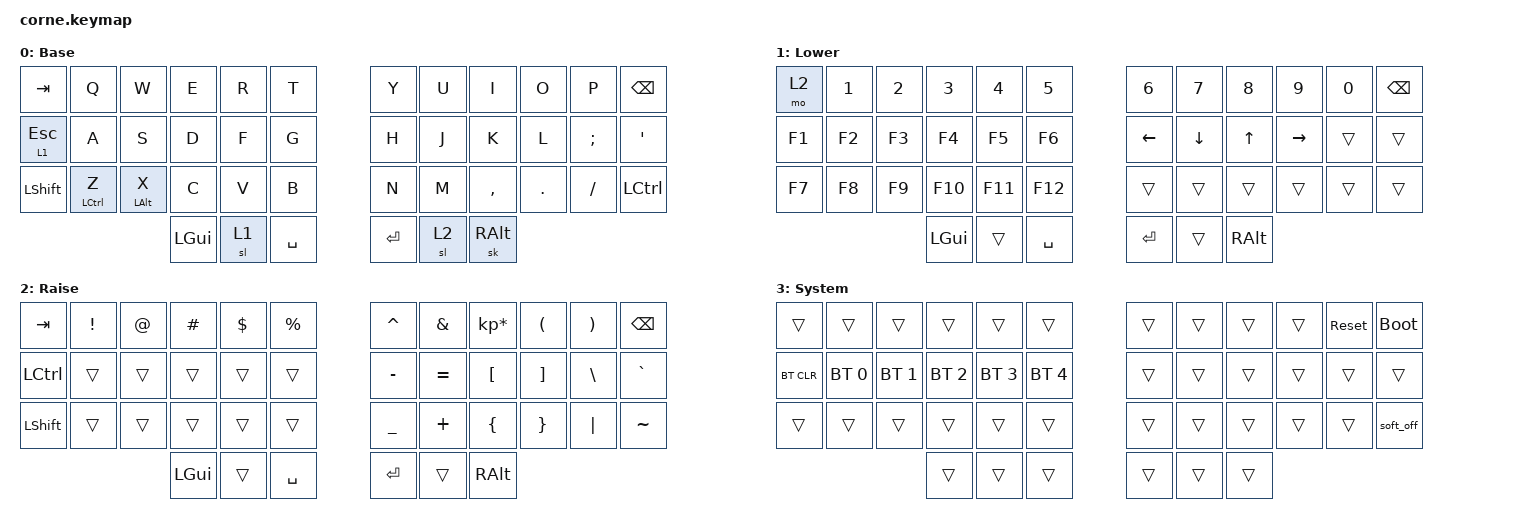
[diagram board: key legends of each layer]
/*
 * Copyright (c) 2020 The ZMK Contributors
 *
 * SPDX-License-Identifier: MIT
 */

#include <behaviors.dtsi>
#include <dt-bindings/zmk/keys.h>
#include <dt-bindings/zmk/bt.h>

&sk {
  quick-release;
};

&mt {
  flavor = "balanced";
};

/ {
        combos {
            compatible = "zmk,combos";
            combo_esc {
                timeout-ms = <30>;
                key-positions = <19 20>;
                bindings = <&kp ESC>;
            };
            combo_paran_l { timeout-ms = <50>; key-positions = <4 5>; bindings = <&kp LPAR>; };
            combo_paran_r { timeout-ms = <50>; key-positions = <6 7>; bindings = <&kp RPAR>; };
            combo_bkt_l { timeout-ms = <50>; key-positions = <16 17>; bindings = <&kp LBKT>; };
            combo_bkt_r { timeout-ms = <50>; key-positions = <18 19>; bindings = <&kp RBKT>; };
            combo_brc_l { timeout-ms = <50>; key-positions = <28 29>; bindings = <&kp LBRC>; };
            combo_brc_r { timeout-ms = <50>; key-positions = <30 31>; bindings = <&kp RBRC>; };
        };
        conditional_layers {
            compatible = "zmk,conditional-layers";
            tri_layer {
                if-layers = <1 2>;
                then-layer = <3>;
            };
        };
        soft_off_wakers {
            compatible = "zmk,soft-off-wakeup-sources";
            wakeup-sources = <&kscan0>;
        };
        keymap {
                compatible = "zmk,keymap";

                default_layer {
// -----------------------------------------------------------------------------------------
// |  TAB |  Q  |  W  |  E  |  R  |  T  |   |  Y  |  U   |  I  |  O  |  P  | BKSP |
// | 1/ESC|  A  |  S  |  D  |  F  |  G  |   |  H  |  J   |  K  |  L  |  ;  |  '   |
// | SHFT |Z/CTL|X/ALT|  C  |  V  |  B  |   |  N  |  M   |  ,  |  .  |  /  | LCTRL|
//                    | GUI | LWR | SPC |   | ENT | RSE  | RALT|
                        display-name = "Base";
                        bindings = <
   &kp TAB   &kp Q &kp W &kp E &kp R &kp T   &kp Y &kp U  &kp I     &kp O   &kp P    &kp BSPC
   &lt 1 ESC &kp A &kp S &kp D &kp F &kp G   &kp H &kp J  &kp K     &kp L   &kp SEMI &kp SQT
   &kp LSHFT &mt LCTRL Z &mt LALT X &kp C &kp V &kp B   &kp N &kp M  &kp COMMA &kp DOT &kp FSLH &kp LCTRL
                  &kp LGUI &sl 1 &kp SPACE   &kp RET &sl 2 &sk RALT
                        >;
                };
                lower_layer {
// -----------------------------------------------------------------------------------------
// |  SYS |  1  |  2  |  3  |  4  |  5  |   |  6  |  7  |  8  |  9  |  0  | BKSP |
// | F1   | F2  | F3  | F4  | F5  | F6  |   | LFT | DWN |  UP | RGT |     |      |
// | F7   | F8  | F9  | F10 | F11 | F12 |   |     |     |     |     |     |      |
//                    | GUI |     | SPC |   | ENT |     | ALT |
                        display-name = "Lower";
                        bindings = <
   &mo 2   &kp N1  &kp N2  &kp N3  &kp N4   &kp N5       &kp N6   &kp N7   &kp N8 &kp N9    &kp N0 &kp BSPC
   &kp F1  &kp F2  &kp F3  &kp F4  &kp F5   &kp F6       &kp LEFT &kp DOWN &kp UP &kp RIGHT &trans &trans
   &kp F7  &kp F8  &kp F9  &kp F10 &kp F11  &kp F12      &trans   &trans   &trans &trans    &trans &trans
            &kp LGUI     &trans       &kp SPACE          &kp RET  &trans   &kp RALT
                        >;
                };

                raise_layer {
// -----------------------------------------------------------------------------------------
// |  TAB |  !  |  @  |  #  |  $  |  %  |   |  ^  |  &  |  *  |  (  |  )  | BKSP |
// | CTRL |     |     |     |     |     |   |  -  |  =  |  [  |  ]  |  \  |  `   |
// | SHFT |     |     |     |     |     |   |  _  |  +  |  {  |  }  | "|" |  ~   |
//                    | GUI |     | SPC |   | ENT |     | ALT |
                        display-name = "Raise";
                        bindings = <
   &kp  TAB  &kp EXCL &kp AT &kp HASH &kp DLLR &kp PRCNT     &kp CARET &kp AMPS  &kp KP_MULTIPLY &kp LPAR &kp RPAR &kp BSPC
   &kp LCTRL &trans   &trans &trans   &trans   &trans        &kp MINUS &kp EQUAL &kp LBKT        &kp RBKT &kp BSLH &kp GRAVE
   &kp LSHFT &trans   &trans &trans   &trans   &trans        &kp UNDER &kp PLUS  &kp LBRC        &kp RBRC &kp PIPE &kp TILDE
                    	     &kp LGUI   &trans   &kp SPACE     &kp RET   &trans    &kp RALT
                        >;
                };

                system_layer {
// -----------------------------------------------------------------------------------------
// |      |     |     |     |     |     |   |     |     |     |     |     |     |
// | BTCLR| BT1 | BT2 | BT3 | BT4 | BT5 |   |     |     |     |     |     |     |
// |      |     |     |     |     |     |   |     |     |     |     |     |     |
//                    |     |     |     |   |     |     |     |
                        display-name = "System";
                        bindings = <
   &trans      &trans         &trans         &trans         &trans         &trans            &trans   &trans   &trans   &trans   &sys_reset   &bootloader
   &bt BT_CLR  &bt BT_SEL 0   &bt BT_SEL 1   &bt BT_SEL 2   &bt BT_SEL 3   &bt BT_SEL 4      &trans   &trans   &trans   &trans   &trans       &trans
   &trans      &trans         &trans         &trans         &trans         &trans            &trans   &trans   &trans   &trans   &trans       &soft_off
                    	                       &trans         &trans         &trans            &trans   &trans   &trans
                        >;
                };

                extra_2 {
                        status = "reserved";
                };

                extra_3 {
                        status = "reserved";
                };
        };
};
